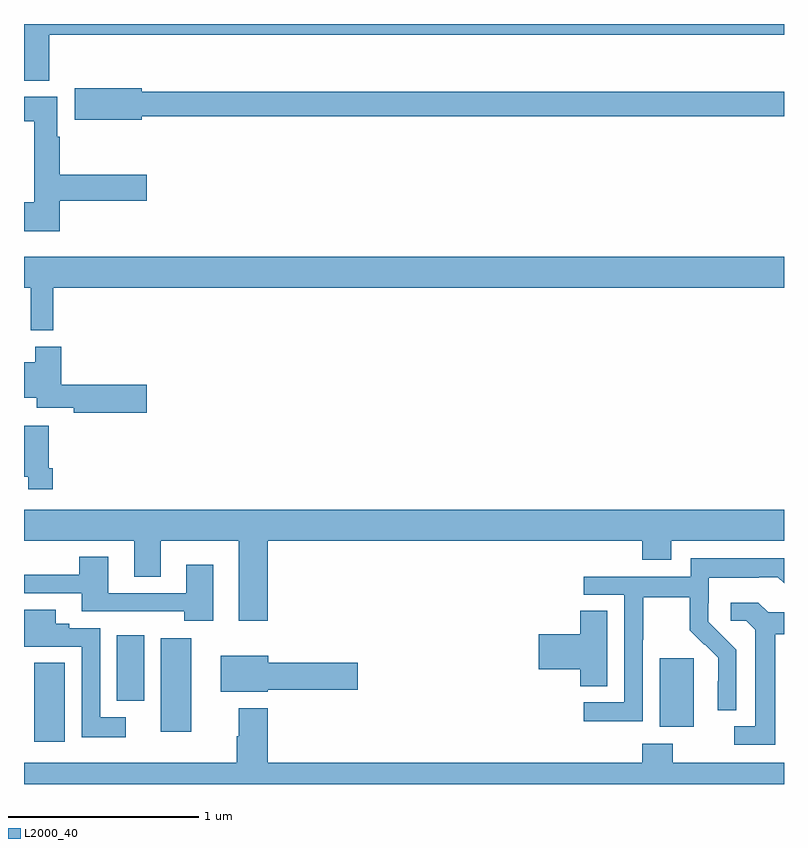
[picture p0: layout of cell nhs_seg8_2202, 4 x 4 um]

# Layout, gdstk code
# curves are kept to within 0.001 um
import gdstk
lib = gdstk.Library(unit=1e-6, precision=1e-09)
def R(c, l, rs):  # rectangles x0, y0, x1, y1
    for r in rs: c.add(gdstk.rectangle(r[:2], r[2:], *l))
def P(c, l, *ps):  # polygons
    for p in ps: c.add(gdstk.Polygon(p, *l))
L2000_40 = (2000, 40)

nhs_seg8_2202 = lib.new_cell('nhs_seg8_2202')
R(nhs_seg8_2202, L2000_40, [(251.054,1102.122,251.215,1102.537), (251.72,1102.176,251.881,1102.666), (254.345,1102.202,254.524,1102.563), (251.489,1102.337,251.632,1102.684)])
P(nhs_seg8_2202, L2000_40, [(255,1105.9),(251,1105.9),(251,1105.601),(251.132,1105.601),(251.132,1105.844),(255,1105.844)],
  [(251.62,1105.414),(255,1105.414),(255,1105.543),(251.62,1105.543),(251.62,1105.561),(251.268,1105.561),(251.268,1105.396),(251.62,1105.396)],
  [(251.189,1104.97),(251.647,1104.97),(251.647,1105.107),(251.189,1105.107),(251.189,1105.307),(251.176,1105.307),(251.176,1105.516),(251,1105.516),(251,1105.388),(251.054,1105.388),(251.054,1104.961),(251,1104.961),(251,1104.809),(251.189,1104.809)],
  [(251.153,1104.512),(255,1104.512),(255,1104.676),(251,1104.676),(251,1104.512),(251.036,1104.512),(251.036,1104.287),(251.153,1104.287)],
  [(251.647,1104.002),(251.195,1104.002),(251.195,1104.202),(251.06,1104.202),(251.06,1104.121),(251,1104.121),(251,1103.933),(251.066,1103.933),(251.066,1103.879),(251.262,1103.879),(251.262,1103.855),(251.647,1103.855)],
  [(251.15,1103.563),(251.13,1103.563),(251.13,1103.785),(251,1103.785),(251,1103.516),(251.022,1103.516),(251.022,1103.451),(251.15,1103.451)],
  [(252.284,1103.18),(254.255,1103.18),(254.255,1103.081),(254.407,1103.081),(254.407,1103.18),(255,1103.18),(255,1103.344),(251,1103.344),(251,1103.18),(251.579,1103.18),(251.579,1102.99),(251.719,1102.99),(251.719,1103.18),(252.131,1103.18),(252.131,1102.758),(252.284,1102.758)],
  [(251.995,1103.053),(251.855,1103.053),(251.855,1102.905),(251.443,1102.905),(251.443,1103.095),(251.291,1103.095),(251.291,1103.002),(251,1103.002),(251,1102.905),(251.303,1102.905),(251.303,1102.809),(251.843,1102.809),(251.843,1102.758),(251.995,1102.758)],
  [(254.256,1102.66),(254.259,1102.66),(254.259,1102.884),(254.503,1102.884),(254.503,1102.709),(254.58,1102.632),(254.583,1102.635),(254.654,1102.565),(254.654,1102.442),(254.652,1102.442),(254.652,1102.288),(254.748,1102.288),(254.748,1102.606),(254.602,1102.754),(254.602,1102.851),(254.604,1102.851),(254.604,1102.985),(254.867,1102.985),(254.867,1102.989),(254.967,1102.989),(255,1102.956),(255,1103.089),(254.508,1103.089),(254.508,1102.992),(253.947,1102.992),(253.947,1102.896),(254.16,1102.896),(254.16,1102.329),(253.947,1102.329),(253.947,1102.231),(254.256,1102.231)],
  [(254.953,1102.688),(255,1102.688),(255,1102.803),(254.916,1102.803),(254.864,1102.855),(254.721,1102.855),(254.721,1102.758),(254.802,1102.758),(254.849,1102.711),(254.849,1102.203),(254.739,1102.203),(254.739,1102.107),(254.953,1102.107)],
  [(251.536,1102.252),(251.4,1102.252),(251.4,1102.719),(251.238,1102.719),(251.238,1102.744),(251.167,1102.744),(251.167,1102.816),(251,1102.816),(251,1102.622),(251.058,1102.622),(251.058,1102.623),(251.304,1102.623),(251.304,1102.145),(251.536,1102.145)],
  [(254.071,1102.811),(253.928,1102.811),(253.928,1102.688),(253.71,1102.688),(253.71,1102.505),(253.928,1102.505),(253.928,1102.414),(254.071,1102.414)],
  [(252.282,1102.396),(252.757,1102.396),(252.757,1102.538),(252.286,1102.538),(252.286,1102.576),(252.035,1102.576),(252.035,1102.385),(252.282,1102.385)],
  [(255,1102.012),(254.415,1102.012),(254.415,1102.111),(254.255,1102.111),(254.255,1102.012),(252.284,1102.012),(252.284,1102.3),(252.131,1102.3),(252.131,1102.151),(252.119,1102.151),(252.119,1102.012),(251,1102.012),(251,1101.9),(255,1101.9)])

lib.write_gds('nhs_seg8_2202.gds')
